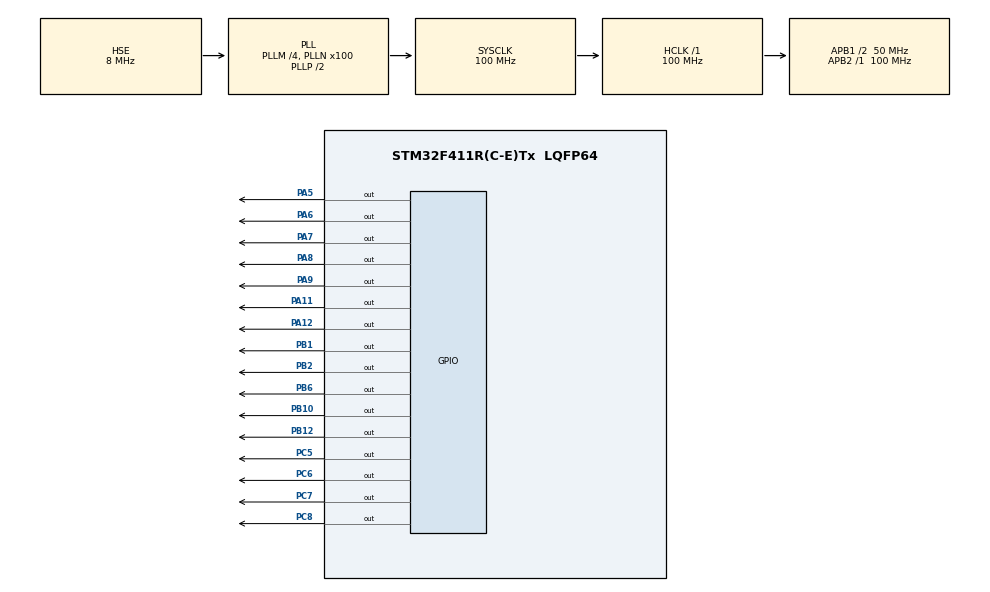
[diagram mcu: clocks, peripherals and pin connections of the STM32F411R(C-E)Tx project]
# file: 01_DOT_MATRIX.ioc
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Mcu.Family=STM32F4
Mcu.Name=STM32F411R(C-E)Tx
Mcu.Package=LQFP64
NVIC.PriorityGroup=NVIC_PRIORITYGROUP_4
PA11.Signal=GPIO_Output
PA12.Signal=GPIO_Output
PA13.Mode=Serial_Wire
PA13.Signal=SYS_JTMS-SWDIO
PA14.Mode=Serial_Wire
PA14.Signal=SYS_JTCK-SWCLK
PA5.Signal=GPIO_Output
PA6.Signal=GPIO_Output
PA7.Signal=GPIO_Output
PA8.Signal=GPIO_Output
PA9.Signal=GPIO_Output
PB1.Signal=GPIO_Output
PB10.Signal=GPIO_Output
PB12.Signal=GPIO_Output
PB2.Signal=GPIO_Output
PB6.Signal=GPIO_Output
PC5.Signal=GPIO_Output
PC6.Signal=GPIO_Output
PC7.Signal=GPIO_Output
PC8.Signal=GPIO_Output
PH0\ -\ OSC_IN.Mode=HSE-External-Oscillator
PH0\ -\ OSC_IN.Signal=RCC_OSC_IN
PH1\ -\ OSC_OUT.Mode=HSE-External-Oscillator
PH1\ -\ OSC_OUT.Signal=RCC_OSC_OUT
ProjectManager.HeapSize=0x200
ProjectManager.StackSize=0x400
ProjectManager.TargetToolchain=STM32CubeIDE
RCC.48MHZClocksFreq_Value=50000000
RCC.AHBFreq_Value=100000000
RCC.APB1CLKDivider=RCC_HCLK_DIV2
RCC.APB1Freq_Value=50000000
RCC.APB1TimFreq_Value=100000000
RCC.APB2Freq_Value=100000000
RCC.APB2TimFreq_Value=100000000
RCC.CortexFreq_Value=100000000
RCC.HCLKFreq_Value=100000000
RCC.HSE_VALUE=8000000
RCC.HSI_VALUE=16000000
RCC.LSE_VALUE=32768
RCC.PLLM=4
RCC.PLLN=100
RCC.PLLSourceVirtual=RCC_PLLSOURCE_HSE
RCC.SYSCLKFreq_VALUE=100000000
RCC.SYSCLKSource=RCC_SYSCLKSOURCE_PLLCLK
RCC.VCOOutputFreq_Value=200000000
board=custom

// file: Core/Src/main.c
/* USER CODE BEGIN Header */
/**
  ******************************************************************************
  * @file           : main.c
  * @brief          : Main program body
  ******************************************************************************
  * @attention
  *
  * Copyright (c) 2025 STMicroelectronics.
  * All rights reserved.
  *
  * This software is licensed under terms that can be found in the LICENSE file
  * in the root directory of this software component.
  * If no LICENSE file comes with this software, it is provided AS-IS.
  *
  ******************************************************************************
  */
/* USER CODE END Header */
#include "main.h"
#include "gpio.h"

/* USER CODE BEGIN PV */
GPIO_TypeDef *colPort[8] = {
		GPIOC, GPIOB, GPIOA, GPIOA,
		GPIOC, GPIOA, GPIOA, GPIOB
};

uint16_t colPin[8] = {
		GPIO_PIN_7, GPIO_PIN_12, GPIO_PIN_11, GPIO_PIN_6,
		GPIO_PIN_5, GPIO_PIN_7, GPIO_PIN_8, GPIO_PIN_10
};

GPIO_TypeDef *rowPort[8] = {
		GPIOA, GPIOA, GPIOC, GPIOB,
		GPIOB, GPIOC, GPIOB, GPIOA
};

uint16_t rowPin[8] = {
		GPIO_PIN_5, GPIO_PIN_9, GPIO_PIN_8, GPIO_PIN_6,
		GPIO_PIN_1, GPIO_PIN_6, GPIO_PIN_2, GPIO_PIN_12
};

uint8_t dotArr_0[8] = {
		0b00000000,
		0b00000000,
		0b00000000,
		0b00000000,
		0b00000000,
		0b00000000,
		0b00000000,
		0b00000000
};

uint8_t dotArr_1[8] = {
		0b00000000,
		0b01100110,
		0b10011001,
		0b10000001,
		0b10000001,
		0b01000010,
		0b00100100,
		0b00011000
};

uint8_t dotArr_Cur[8] = {0};
uint16_t dotCount = 0;
uint8_t dotShift = 0, dotDir_1 = 0, dotDir_2 = 0;
/* USER CODE END PV */

void SystemClock_Config(void);

int main(void)
{

  /* MCU Configuration--------------------------------------------------------*/

  /* Reset of all peripherals, Initializes the Flash interface and the Systick. */
  HAL_Init();

  /* Configure the system clock */
  SystemClock_Config();

  /* Initialize all configured peripherals */
  MX_GPIO_Init();

  /* Infinite loop */
  /* USER CODE BEGIN WHILE */
  while (1)
  {
	  // 좌, 우 Shift 적용
	  if (dotCount >= 300) {
		  if (dotDir_1 == 0) {
			  dotShift++;
		  }
		  else if (dotDir_1 == 1) {
			  dotShift--;
		  }

		  if (dotShift == 8) {
			  dotDir_1 = 1;
		  }
		  else if (dotShift == 0) {
			  dotDir_1 = 0;
			  dotDir_2 = !dotDir_2;
		  }

		  dotCount = 0;
	  }

	  for (uint8_t i = 0; i < 8; i++) {
		  if (!dotDir_2) {
			  dotArr_Cur[i] = dotArr_1[i] << dotShift;
		  }
		  else {
			  dotArr_Cur[i] = dotArr_1[i] >> dotShift;
		  }
	  }

	  // 특정 모양 켜기
	  for (uint8_t row = 0; row < 8; row++) {
		  for (uint8_t i = 0; i < 8; i++) {
			  HAL_GPIO_WritePin(rowPort[i], rowPin[i], GPIO_PIN_RESET);
		  }
		  HAL_GPIO_WritePin(rowPort[row], rowPin[row], GPIO_PIN_SET);

		  for (uint8_t col = 0; col < 8; col++) {
			  if (dotArr_Cur[row] & (1 << col)) {
				  HAL_GPIO_WritePin(colPort[col], colPin[col], GPIO_PIN_RESET);
			  }
			  else {
				  HAL_GPIO_WritePin(colPort[col], colPin[col], GPIO_PIN_SET);
			  }
		  }
		  dotCount++;			// 1ms Delay 이용해서 Delay 적용
		  HAL_Delay(1);
	  }

//	  // 1열씩 켜기
//	  // Col 0 → On, 1 → Off, Row 0 → Off, 1 → On
//	  for (uint8_t i = 0; i < 8; i++) {
//		  for (uint8_t l = 0; l < 8; l++) {
//			  HAL_GPIO_WritePin(colPort[l], colPin[l], GPIO_PIN_SET);
//		  }
//		  HAL_GPIO_WritePin(colPort[i], colPin[i], GPIO_PIN_RESET);
//
//		  for (uint8_t j = 0; j < 8; j++) {
//			  HAL_GPIO_WritePin(rowPort[j], rowPin[j], GPIO_PIN_SET);
//		  }
//		  HAL_Delay(500);
//
//		  for (uint8_t k = 0; k < 8; k++) {
//			  HAL_GPIO_WritePin(rowPort[k], rowPin[k], GPIO_PIN_RESET);
//		  }
//	  }
    /* USER CODE END WHILE */

  }
}

void SystemClock_Config(void)
{
  RCC_OscInitTypeDef RCC_OscInitStruct = {0};
  RCC_ClkInitTypeDef RCC_ClkInitStruct = {0};

  /** Configure the main internal regulator output voltage
  */
  __HAL_RCC_PWR_CLK_ENABLE();
  __HAL_PWR_VOLTAGESCALING_CONFIG(PWR_REGULATOR_VOLTAGE_SCALE1);

  /** Initializes the RCC Oscillators according to the specified parameters
  * in the RCC_OscInitTypeDef structure.
  */
  RCC_OscInitStruct.OscillatorType = RCC_OSCILLATORTYPE_HSE;
  RCC_OscInitStruct.HSEState = RCC_HSE_ON;
  RCC_OscInitStruct.PLL.PLLState = RCC_PLL_ON;
  RCC_OscInitStruct.PLL.PLLSource = RCC_PLLSOURCE_HSE;
  RCC_OscInitStruct.PLL.PLLM = 4;
  RCC_OscInitStruct.PLL.PLLN = 100;
  RCC_OscInitStruct.PLL.PLLP = RCC_PLLP_DIV2;
  RCC_OscInitStruct.PLL.PLLQ = 4;
  if (HAL_RCC_OscConfig(&RCC_OscInitStruct) != HAL_OK)
  {
    Error_Handler();
  }

  /** Initializes the CPU, AHB and APB buses clocks
  */
  RCC_ClkInitStruct.ClockType = RCC_CLOCKTYPE_HCLK|RCC_CLOCKTYPE_SYSCLK
                              |RCC_CLOCKTYPE_PCLK1|RCC_CLOCKTYPE_PCLK2;
  RCC_ClkInitStruct.SYSCLKSource = RCC_SYSCLKSOURCE_PLLCLK;
  RCC_ClkInitStruct.AHBCLKDivider = RCC_SYSCLK_DIV1;
  RCC_ClkInitStruct.APB1CLKDivider = RCC_HCLK_DIV2;
  RCC_ClkInitStruct.APB2CLKDivider = RCC_HCLK_DIV1;

  if (HAL_RCC_ClockConfig(&RCC_ClkInitStruct, FLASH_LATENCY_3) != HAL_OK)
  {
    Error_Handler();
  }
}

void Error_Handler(void)
{
  __disable_irq();
  while (1)
  {
  }
}
